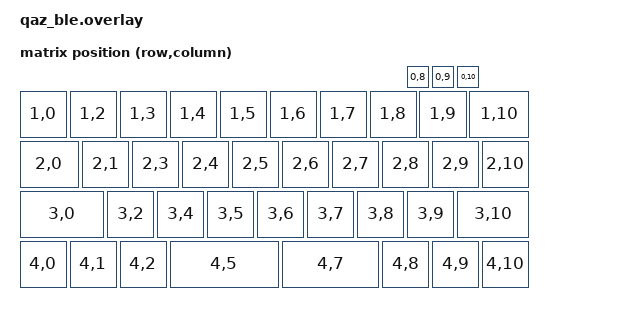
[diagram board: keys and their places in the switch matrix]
#include <dt-bindings/zmk/matrix_transform.h>
#include <physical_layouts.dtsi>
/ {
    kscan0: kscan {
        compatible = "zmk,kscan-gpio-charlieplex";
        wakeup-source;

        gpios
          = <&xiao_d 0 GPIO_ACTIVE_HIGH>
          , <&xiao_d 1 GPIO_ACTIVE_HIGH>
          , <&xiao_d 2 GPIO_ACTIVE_HIGH>
          , <&xiao_d 3 GPIO_ACTIVE_HIGH>
          , <&xiao_d 4 GPIO_ACTIVE_HIGH>
          , <&xiao_d 5 GPIO_ACTIVE_HIGH>
          , <&xiao_d 6 GPIO_ACTIVE_HIGH>
          , <&xiao_d 7 GPIO_ACTIVE_HIGH>
          , <&xiao_d 8 GPIO_ACTIVE_HIGH>
          , <&xiao_d 9 GPIO_ACTIVE_HIGH>
          , <&xiao_d 10 GPIO_ACTIVE_HIGH>
          ; // addressable space is 11x11, (minus paired values)
    };

    default_transform: matrix_transform {
        compatible = "zmk,matrix-transform";
        rows = <5>;
        columns = <11>;
        //   Q   W   E   R   T   Y   U   I   O   P
        //    A   S   D   F   G   H   J   K   L   RET
        //     Z   X   C   V   B   N   M   ,   RSHFT
        //  LCTRL LGUI LALT SPACE SPACE RALT AGUI RCTRL
        map = <
        //   Key 1 | Key 2 | Key 3 | Key 4 | Key 5 | Key 6 | Key 7 | Key 8 | Key 9 | Key 10
            RC(1,0) RC(1,2) RC(1,3) RC(1,4) RC(1,5) RC(1,6) RC(1,7) RC(1,8) RC(1,9) RC(1,10)
        //   Key 11 | Key 12 | Key 13 | Key 14| Key 15| Key 16| Key 17| Key 18| Key 19| Key 20
            RC(2,0) RC(2,1) RC(2,3) RC(2,4) RC(2,5) RC(2,6) RC(2,7) RC(2,8) RC(2,9) RC(2,10)
        //   Key 21 | Key 22 | Key 23 | Key 24 | Key 25 | Key 26 | Key 27 | Key 28 | Key 29
            RC(3,0) RC(3,2) RC(3,4) RC(3,5) RC(3,6) RC(3,7) RC(3,8) RC(3,9) RC(3,10)
        //   Key 30 | Key 31 | Key 32 | Key 33 | Key 34 | Key 35 | Key 36 | Key 37
            RC(4,0) RC(4,1) RC(4,2) RC(4,5) RC(4,7) RC(4,8) RC(4,9) RC(4,10)
        //   Key 38 | Key 39 | Key 40
            RC(0,8) RC(0,9) RC(0,10)
        >;
    };

    physical_layout0: physical_layout_0 { // First physical layout, use different naming for other layouts
        compatible = "zmk,physical-layout";
        display-name = "Default Layout";
        kscan = <&kscan0>; // Label of the kscan node, optional if all layouts use the same
        transform = <&default_transform>; // Label of the matrix transform for this layout
        keys  //                     w   h    x    y     rot    rx    ry
            = <&key_physical_attrs 100 100    0   50       0     0     0>
            , <&key_physical_attrs 100 100  100   50       0     0     0>
            , <&key_physical_attrs 100 100  200   50       0     0     0>
            , <&key_physical_attrs 100 100  300   50       0     0     0>
            , <&key_physical_attrs 100 100  400   50       0     0     0>
            , <&key_physical_attrs 100 100  500   50       0     0     0>
            , <&key_physical_attrs 100 100  600   50       0     0     0>
            , <&key_physical_attrs 100 100  700   50       0     0     0>
            , <&key_physical_attrs 100 100  800   50       0     0     0>
            , <&key_physical_attrs 125 100  900   50       0     0     0>
            , <&key_physical_attrs 125 100    0  150       0     0     0>
            , <&key_physical_attrs 100 100  125  150       0     0     0>
            , <&key_physical_attrs 100 100  225  150       0     0     0>
            , <&key_physical_attrs 100 100  325  150       0     0     0>
            , <&key_physical_attrs 100 100  425  150       0     0     0>
            , <&key_physical_attrs 100 100  525  150       0     0     0>
            , <&key_physical_attrs 100 100  625  150       0     0     0>
            , <&key_physical_attrs 100 100  725  150       0     0     0>
            , <&key_physical_attrs 100 100  825  150       0     0     0>
            , <&key_physical_attrs 100 100  925  150       0     0     0>
            , <&key_physical_attrs 175 100    0  250       0     0     0>
            , <&key_physical_attrs 100 100  175  250       0     0     0>
            , <&key_physical_attrs 100 100  275  250       0     0     0>
            , <&key_physical_attrs 100 100  375  250       0     0     0>
            , <&key_physical_attrs 100 100  475  250       0     0     0>
            , <&key_physical_attrs 100 100  575  250       0     0     0>
            , <&key_physical_attrs 100 100  675  250       0     0     0>
            , <&key_physical_attrs 100 100  775  250       0     0     0>
            , <&key_physical_attrs 150 100  875  250       0     0     0>
            , <&key_physical_attrs 100 100    0  350       0     0     0>
            , <&key_physical_attrs 100 100  100  350       0     0     0>
            , <&key_physical_attrs 100 100  200  350       0     0     0>
            , <&key_physical_attrs 225 100  300  350       0     0     0>
            , <&key_physical_attrs 200 100  525  350       0     0     0>
            , <&key_physical_attrs 100 100  725  350       0     0     0>
            , <&key_physical_attrs 100 100  825  350       0     0     0>
            , <&key_physical_attrs 100 100  925  350       0     0     0>
            , <&key_physical_attrs  50  50  775    0       0     0     0>
            , <&key_physical_attrs  50  50  825    0       0     0     0>
            , <&key_physical_attrs  50  50  875    0       0     0     0>
            ;
    };

    layouts_qaz_ble_position_map: layouts_qaz_ble_position_map {
        compatible = "zmk,physical-layout-position-map";

            qaz_ble_wk_double_space_posmap: wk_double_space {
                physical-layout = <&qaz_ble_wk_double_space_layout>;
                positions = <29 30 31 32 33 34 35 36 37 38 39>;
            };
    };

    chosen {
        zmk,physical-layout = &physical_layout0;
        // Other chosen items
    };
};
